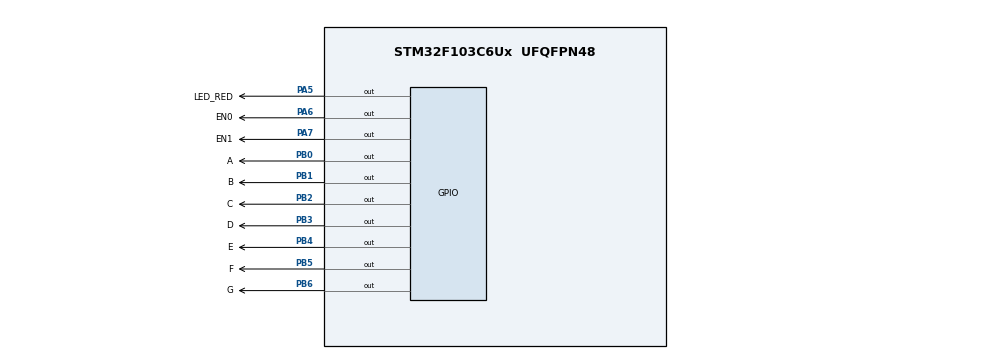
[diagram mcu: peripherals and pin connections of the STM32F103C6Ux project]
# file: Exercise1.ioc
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Mcu.Family=STM32F1
Mcu.Name=STM32F103C6Ux
Mcu.Package=UFQFPN48
NVIC.PriorityGroup=NVIC_PRIORITYGROUP_4
NVIC.TIM2_IRQn=true\:0\:0\:false\:false\:true\:true\:true
PA5.GPIO_Label=LED_RED
PA5.Signal=GPIO_Output
PA6.GPIO_Label=EN0
PA6.Signal=GPIO_Output
PA7.GPIO_Label=EN1
PA7.Signal=GPIO_Output
PB0.GPIO_Label=A
PB0.Signal=GPIO_Output
PB1.GPIO_Label=B
PB1.Signal=GPIO_Output
PB2.GPIO_Label=C
PB2.Signal=GPIO_Output
PB3.GPIO_Label=D
PB3.Signal=GPIO_Output
PB4.GPIO_Label=E
PB4.Signal=GPIO_Output
PB5.GPIO_Label=F
PB5.Signal=GPIO_Output
PB6.GPIO_Label=G
PB6.Signal=GPIO_Output
ProjectManager.HeapSize=0x200
ProjectManager.StackSize=0x400
ProjectManager.TargetToolchain=STM32CubeIDE
RCC.APB1Freq_Value=8000000
RCC.APB2Freq_Value=8000000
TIM2.Period=9
TIM2.Prescaler=7999
VP_SYS_VS_ND.Mode=No_Debug
VP_TIM2_VS_ClockSourceINT.Mode=Internal
board=custom

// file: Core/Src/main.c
/* USER CODE BEGIN Header */
/**
  ******************************************************************************
  * @file           : main.c
  * @brief          : Main program body
  ******************************************************************************
  * @attention
  *
  * <h2><center>&copy; Copyright (c) 2025 STMicroelectronics.
  * All rights reserved.</center></h2>
  *
  * This software component is licensed by ST under BSD 3-Clause license,
  * the "License"; You may not use this file except in compliance with the
  * License. You may obtain a copy of the License at:
  *                        opensource.org/licenses/BSD-3-Clause
  *
  ******************************************************************************
  */
/* USER CODE END Header */
#include "main.h"

/* USER CODE BEGIN Includes */
#include "software_timer.h"
/* USER CODE END Includes */

TIM_HandleTypeDef htim2;

void SystemClock_Config(void);
static void MX_GPIO_Init(void);
static void MX_TIM2_Init(void);

uint8_t segmentBinary[10] = {
	0b00111111, // 0
	0b00000110, // 1
	0b01011011, // 2
	0b01001111, // 3
	0b01100110, // 4
	0b01101101, // 5
	0b01111101, // 6
	0b00000111, // 7
	0b01111111, // 8
	0b01101111  // 9
};
void display7SEG(int num) {
	uint8_t display = segmentBinary[num];

	HAL_GPIO_WritePin(A_GPIO_Port, A_Pin, (display & 0b00000001) ? RESET : SET);
	HAL_GPIO_WritePin(B_GPIO_Port, B_Pin, (display & 0b00000010) ? RESET : SET);
	HAL_GPIO_WritePin(C_GPIO_Port, C_Pin, (display & 0b00000100) ? RESET : SET);
	HAL_GPIO_WritePin(D_GPIO_Port, D_Pin, (display & 0b00001000) ? RESET : SET);
	HAL_GPIO_WritePin(E_GPIO_Port, E_Pin, (display & 0b00010000) ? RESET : SET);
	HAL_GPIO_WritePin(F_GPIO_Port, F_Pin, (display & 0b00100000) ? RESET : SET);
	HAL_GPIO_WritePin(G_GPIO_Port, G_Pin, (display & 0b01000000) ? RESET : SET);
}
void enable7SEG(int state) {
	HAL_GPIO_WritePin(EN0_GPIO_Port, EN0_Pin, SET);
	HAL_GPIO_WritePin(EN1_GPIO_Port, EN1_Pin, SET);

	switch (state) {
		case 0:
			HAL_GPIO_WritePin(EN0_GPIO_Port, EN0_Pin, RESET);
			break;
		case 1:
			HAL_GPIO_WritePin(EN1_GPIO_Port, EN1_Pin, RESET);
			break;
		default:
			break;
	}
}

int segmentState = 0; // 0 for LED1 & 1 for LED2

int main(void)
{

  /* MCU Configuration--------------------------------------------------------*/

  /* Reset of all peripherals, Initializes the Flash interface and the Systick. */
  HAL_Init();

  /* Configure the system clock */
  SystemClock_Config();

  /* Initialize all configured peripherals */
  MX_GPIO_Init();
  MX_TIM2_Init();
  /* USER CODE BEGIN 2 */
  HAL_TIM_Base_Start_IT(&htim2);
  /* USER CODE END 2 */

  /* Infinite loop */
  /* USER CODE BEGIN WHILE */
  setTimer1(100);
  setTimer2(50);
  while (1)
  {
	  /*
	  if (timer1_flag == 1) {
		  setTimer1(100);
		  HAL_GPIO_TogglePin(LED_RED_GPIO_Port, LED_RED_Pin);
	  }

	  if (timer2_flag == 1) {
		  setTimer2(50);

		  if (segmentState == 0) {
			  display7SEG(1);
			  enable7SEG(0);
			  segmentState = 1;
		  }
		  else if (segmentState == 1) {
			  display7SEG(2);
			  enable7SEG(1);
			  segmentState = 0;
		  }
	  }
	  */
    /* USER CODE END WHILE */

  }
}

void SystemClock_Config(void)
{
  RCC_OscInitTypeDef RCC_OscInitStruct = {0};
  RCC_ClkInitTypeDef RCC_ClkInitStruct = {0};

  /** Initializes the RCC Oscillators according to the specified parameters
  * in the RCC_OscInitTypeDef structure.
  */
  RCC_OscInitStruct.OscillatorType = RCC_OSCILLATORTYPE_HSI;
  RCC_OscInitStruct.HSIState = RCC_HSI_ON;
  RCC_OscInitStruct.HSICalibrationValue = RCC_HSICALIBRATION_DEFAULT;
  RCC_OscInitStruct.PLL.PLLState = RCC_PLL_NONE;
  if (HAL_RCC_OscConfig(&RCC_OscInitStruct) != HAL_OK)
  {
    Error_Handler();
  }
  /** Initializes the CPU, AHB and APB buses clocks
  */
  RCC_ClkInitStruct.ClockType = RCC_CLOCKTYPE_HCLK|RCC_CLOCKTYPE_SYSCLK
                              |RCC_CLOCKTYPE_PCLK1|RCC_CLOCKTYPE_PCLK2;
  RCC_ClkInitStruct.SYSCLKSource = RCC_SYSCLKSOURCE_HSI;
  RCC_ClkInitStruct.AHBCLKDivider = RCC_SYSCLK_DIV1;
  RCC_ClkInitStruct.APB1CLKDivider = RCC_HCLK_DIV1;
  RCC_ClkInitStruct.APB2CLKDivider = RCC_HCLK_DIV1;

  if (HAL_RCC_ClockConfig(&RCC_ClkInitStruct, FLASH_LATENCY_0) != HAL_OK)
  {
    Error_Handler();
  }
}

static void MX_TIM2_Init(void)
{

  TIM_ClockConfigTypeDef sClockSourceConfig = {0};
  TIM_MasterConfigTypeDef sMasterConfig = {0};

  htim2.Instance = TIM2;
  htim2.Init.Prescaler = 7999;
  htim2.Init.CounterMode = TIM_COUNTERMODE_UP;
  htim2.Init.Period = 9;
  htim2.Init.ClockDivision = TIM_CLOCKDIVISION_DIV1;
  htim2.Init.AutoReloadPreload = TIM_AUTORELOAD_PRELOAD_DISABLE;
  if (HAL_TIM_Base_Init(&htim2) != HAL_OK)
  {
    Error_Handler();
  }
  sClockSourceConfig.ClockSource = TIM_CLOCKSOURCE_INTERNAL;
  if (HAL_TIM_ConfigClockSource(&htim2, &sClockSourceConfig) != HAL_OK)
  {
    Error_Handler();
  }
  sMasterConfig.MasterOutputTrigger = TIM_TRGO_RESET;
  sMasterConfig.MasterSlaveMode = TIM_MASTERSLAVEMODE_DISABLE;
  if (HAL_TIMEx_MasterConfigSynchronization(&htim2, &sMasterConfig) != HAL_OK)
  {
    Error_Handler();
  }

}

static void MX_GPIO_Init(void)
{
  GPIO_InitTypeDef GPIO_InitStruct = {0};

  /* GPIO Ports Clock Enable */
  __HAL_RCC_GPIOA_CLK_ENABLE();
  __HAL_RCC_GPIOB_CLK_ENABLE();

  /*Configure GPIO pin Output Level */
  HAL_GPIO_WritePin(GPIOA, LED_RED_Pin|EN0_Pin|EN1_Pin, GPIO_PIN_RESET);

  /*Configure GPIO pin Output Level */
  HAL_GPIO_WritePin(GPIOB, A_Pin|B_Pin|C_Pin|D_Pin
                          |E_Pin|F_Pin|G_Pin, GPIO_PIN_RESET);

  /*Configure GPIO pins : LED_RED_Pin EN0_Pin EN1_Pin */
  GPIO_InitStruct.Pin = LED_RED_Pin|EN0_Pin|EN1_Pin;
  GPIO_InitStruct.Mode = GPIO_MODE_OUTPUT_PP;
  GPIO_InitStruct.Pull = GPIO_NOPULL;
  GPIO_InitStruct.Speed = GPIO_SPEED_FREQ_LOW;
  HAL_GPIO_Init(GPIOA, &GPIO_InitStruct);

  /*Configure GPIO pins : A_Pin B_Pin C_Pin D_Pin
                           E_Pin F_Pin G_Pin */
  GPIO_InitStruct.Pin = A_Pin|B_Pin|C_Pin|D_Pin
                          |E_Pin|F_Pin|G_Pin;
  GPIO_InitStruct.Mode = GPIO_MODE_OUTPUT_PP;
  GPIO_InitStruct.Pull = GPIO_NOPULL;
  GPIO_InitStruct.Speed = GPIO_SPEED_FREQ_LOW;
  HAL_GPIO_Init(GPIOB, &GPIO_InitStruct);

}

/* USER CODE BEGIN 4 */
void HAL_TIM_PeriodElapsedCallback(TIM_HandleTypeDef *htim) {
	timerRun();

	if (timer1_flag == 1) {
		setTimer1(100);
		HAL_GPIO_TogglePin(LED_RED_GPIO_Port, LED_RED_Pin);
	}

	if (timer2_flag == 1) {
		setTimer2(50);

		if (segmentState == 0) {
			display7SEG(1);
			enable7SEG(0);
			segmentState = 1;
		}
		else if (segmentState == 1) {
			display7SEG(2);
			enable7SEG(1);
			segmentState = 0;
		}
	}
}
/* USER CODE END 4 */

void Error_Handler(void)
{
  __disable_irq();
  while (1)
  {
  }
}

/************************ (C) COPYRIGHT STMicroelectronics *****END OF FILE****/
